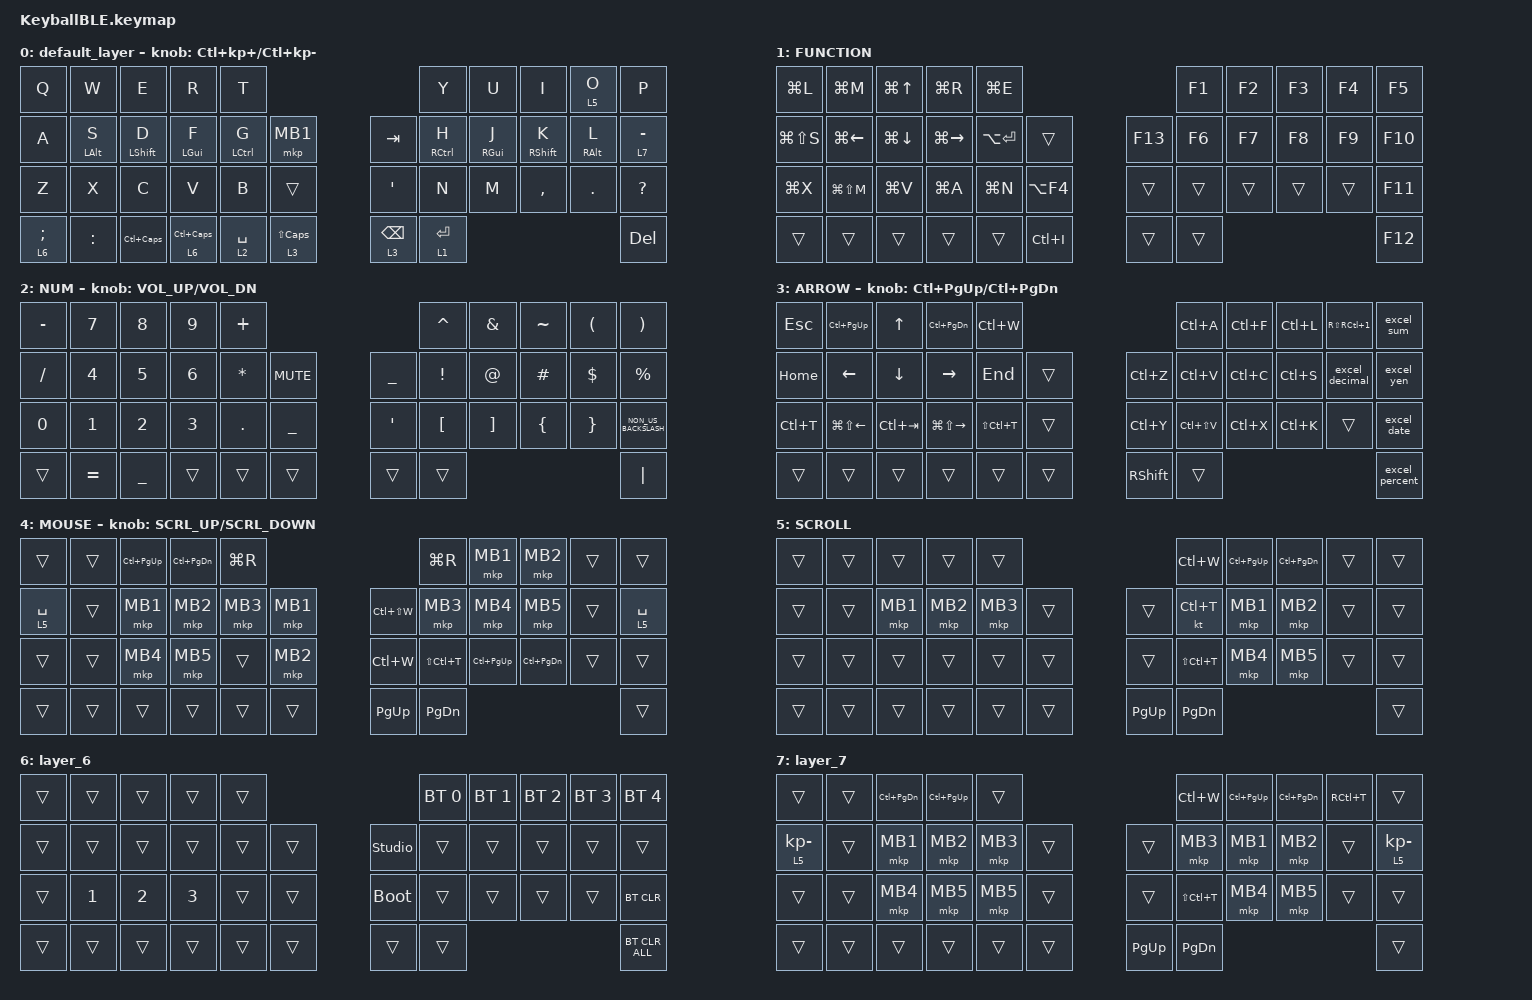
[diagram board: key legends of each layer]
#define ZMK_POINTING_DEFAULT_SCRL_VAL 120    // default: 10

#include <behaviors.dtsi>
#include <dt-bindings/zmk/bt.h>
#include <dt-bindings/zmk/keys.h>
#include <dt-bindings/zmk/pointing.h>

&mt {
    flavor = "balanced";
    quick-tap-ms = <0>;
};

/ {
    /*
combos {
    compatible = "zmk,combos";

    double_quotation {
        bindings = <&kp JP_DQUOTE>;
        key-positions = <20 21>;
    };
};
*/

    macros {
        to_layer_0: to_layer_0 {
            compatible = "zmk,behavior-macro-one-param";
            #binding-cells = <1>;
            bindings = <&to 0 &macro_param_1to1 &kp MACRO_PLACEHOLDER>;
            label = "TO_LAYER_0";
        };

        excel_sum: excel_sum {
            compatible = "zmk,behavior-macro";
            #binding-cells = <0>;
            bindings =
                <&macro_press>,
                <&kp LALT &kp LSHIFT>,
                <&macro_tap>,
                <&kp MINUS>,
                <&macro_release>,
                <&kp LALT &kp LSHIFT>;

            label = "EXCEL_SUM";
        };

        excel_yen: excel_yen {
            compatible = "zmk,behavior-macro";
            #binding-cells = <0>;
            bindings =
                <&macro_press>,
                <&kp LCTRL &kp LSHIFT>,
                <&macro_tap>,
                <&kp NUMBER_4>,
                <&macro_release>,
                <&kp LCTRL &kp LSHIFT>;

            label = "EXCEL_YEN";
        };

        excel_percent: excel_percent {
            compatible = "zmk,behavior-macro";
            #binding-cells = <0>;
            bindings =
                <&macro_press>,
                <&kp LCTRL &kp LSHIFT>,
                <&macro_tap>,
                <&kp NUMBER_5>,
                <&macro_release>,
                <&kp LCTRL &kp LSHIFT>;

            label = "EXCEL_PERCENT";
        };

        excel_date: excel_date {
            compatible = "zmk,behavior-macro";
            #binding-cells = <0>;
            bindings =
                <&macro_press>,
                <&kp LCTRL &kp LSHIFT>,
                <&macro_tap>,
                <&kp NUMBER_3>,
                <&macro_release>,
                <&kp LCTRL &kp LSHIFT>;

            label = "EXCEL_DATE";
        };

        excel_decimal: excel_decimal {
            compatible = "zmk,behavior-macro";
            #binding-cells = <0>;
            bindings =
                <&macro_press>,
                <&kp LCTRL &kp LSHIFT>,
                <&macro_tap>,
                <&kp NUMBER_1>,
                <&macro_release>,
                <&kp LCTRL &kp LSHIFT>;

            label = "EXCEL_DECIMAL";
        };
    };

    behaviors {
        lt_to_layer_0: lt_to_layer_0 {
            compatible = "zmk,behavior-hold-tap";
            label = "LAYER_TAP_TO_0";
            bindings = <&mo>, <&to_layer_0>;

            #binding-cells = <2>;
            tapping-term-ms = <200>;
        };

        ROTATE: ROTATE {
            compatible = "zmk,behavior-sensor-rotate-var";
            label = "ROTATE";
            #sensor-binding-cells = <2>;
            bindings = <&msc>, <&msc>;

            tap-ms = <20>;
        };
    };

    keymap {
        compatible = "zmk,keymap";

        default_layer {
            bindings = <
&kp Q       &kp W           &kp E             &kp R                          &kp T                                                            &kp Y        &kp U            &kp I              &lt 5 O          &kp P
&kp A       &mt LEFT_ALT S  &mt LEFT_SHIFT D  &mt LEFT_GUI F                 &mt LCTRL G  &mkp MB1                           &kp TAB          &mt RCTRL H  &mt RIGHT_GUI J  &mt RIGHT_SHIFT K  &mt RIGHT_ALT L  &lt 7 MINUS
&kp Z       &kp X           &kp C             &kp V                          &kp B        &trans                             &kp APOSTROPHE   &kp N        &kp M            &kp COMMA          &kp PERIOD       &kp QUESTION
&lt 6 SEMI  &kp COLON       &kp LC(CAPS)      &lt_to_layer_0 6 LC(CAPSLOCK)  &lt 2 SPACE  &lt_to_layer_0 3 LS(CAPSLOCK)      &lt 3 BACKSPACE  &lt 1 ENTER                                                       &kp DEL
            >;

            sensor-bindings = <&inc_dec_kp LC(KP_PLUS) LC(KP_MINUS)>;
        };

        FUNCTION {
            bindings = <
&kp LG(L)      &kp LG(M)           &kp LG(UP_ARROW)  &kp LG(R)            &kp LG(E)                               &kp F1  &kp F2  &kp F3  &kp F4  &kp F5
&kp LG(LS(S))  &kp LG(LEFT_ARROW)  &kp LG(DOWN)      &kp LG(RIGHT_ARROW)  &kp LA(ENTER)  &trans          &kp F13  &kp F6  &kp F7  &kp F8  &kp F9  &kp F10
&kp LG(X)      &kp LG(LS(M))       &kp LG(V)         &kp LG(A)            &kp LG(N)      &kp LA(F4)      &trans   &trans  &trans  &trans  &trans  &kp F11
&trans         &trans              &trans            &trans               &trans         &kp LC(I)       &trans   &trans                          &kp F12
            >;
        };

        NUM {
            bindings = <
&kp MINUS     &kp N7        &kp N8          &kp N9        &kp PLUS                                      &kp CARET         &kp AMPERSAND      &kp TILDE       &kp LEFT_PARENTHESIS  &kp RIGHT_PARENTHESIS
&kp SLASH     &kp NUMBER_4  &kp N5          &kp NUMBER_6  &kp ASTERISK  &kp C_MUTE      &kp UNDERSCORE  &kp EXCLAMATION   &kp AT_SIGN        &kp HASH        &kp DOLLAR            &kp PERCENT
&kp NUMBER_0  &kp NUMBER_1  &kp NUMBER_2    &kp NUMBER_3  &kp PERIOD    &kp UNDER       &kp SQT         &kp LEFT_BRACKET  &kp RIGHT_BRACKET  &kp LEFT_BRACE  &kp RIGHT_BRACE       &kp NON_US_BACKSLASH
&trans        &kp EQUAL     &kp UNDERSCORE  &trans        &trans        &trans          &trans          &trans                                                                     &kp PIPE
            >;

            sensor-bindings = <&inc_dec_kp C_VOLUME_UP C_VOL_DN>;
        };

        ARROW {
            bindings = <
&kp ESCAPE  &kp LC(PAGE_UP)         &kp UP_ARROW    &kp LC(PAGE_DOWN)        &kp LC(W)                                   &kp LC(A)      &kp LC(F)  &kp LC(L)  &kp RS(RC(NUMBER_1))  &excel_sum
&kp HOME    &kp LEFT_ARROW          &kp DOWN_ARROW  &kp RIGHT_ARROW          &kp END        &trans      &kp LC(Z)        &kp LC(V)      &kp LC(C)  &kp LC(S)  &excel_decimal        &excel_yen
&kp LC(T)   &kp LG(LS(LEFT_ARROW))  &kp LC(TAB)     &kp LG(LS(RIGHT_ARROW))  &kp LS(LC(T))  &trans      &kp LC(Y)        &kp LC(LS(V))  &kp LC(X)  &kp LC(K)  &trans                &excel_date
&trans      &trans                  &trans          &trans                   &trans         &trans      &kp RIGHT_SHIFT  &trans                                                     &excel_percent
            >;

            sensor-bindings = <&inc_dec_kp LC(PAGE_UP) LC(PAGE_DOWN)>;
        };

        MOUSE {
            bindings = <
&trans       &trans  &kp LC(PAGE_UP)  &kp LC(PAGE_DOWN)  &kp LG(R)                               &kp LG(R)      &mkp MB1         &mkp MB2           &trans  &trans
&lt 5 SPACE  &trans  &mkp MB1         &mkp MB2           &mkp MB3   &mkp MB1      &kp LC(LS(W))  &mkp MB3       &mkp MB4         &mkp MB5           &trans  &lt 5 SPACE
&trans       &trans  &mkp MB4         &mkp MB5           &trans     &mkp MB2      &kp LC(W)      &kp LS(LC(T))  &kp LC(PAGE_UP)  &kp LC(PAGE_DOWN)  &trans  &trans
&trans       &trans  &trans           &trans             &trans     &trans        &kp PAGE_UP    &kp PAGE_DOWN                                              &trans
            >;

            sensor-bindings = <&ROTATE SCRL_UP SCRL_DOWN>;
        };

        SCROLL {
            bindings = <
&trans  &trans  &trans    &trans    &trans                             &kp LC(W)      &kp LC(PAGE_UP)  &kp LC(PAGE_DOWN)  &trans  &trans
&trans  &trans  &mkp MB1  &mkp MB2  &mkp MB3  &trans      &trans       &kt LC(T)      &mkp MB1         &mkp MB2           &trans  &trans
&trans  &trans  &trans    &trans    &trans    &trans      &trans       &kp LS(LC(T))  &mkp MB4         &mkp MB5           &trans  &trans
&trans  &trans  &trans    &trans    &trans    &trans      &kp PAGE_UP  &kp PAGE_DOWN                                              &trans
            >;
        };

        layer_6 {
            bindings = <
&trans  &trans        &trans        &trans        &trans                              &bt BT_SEL 0  &bt BT_SEL 1  &bt BT_SEL 2  &bt BT_SEL 3  &bt BT_SEL 4
&trans  &trans        &trans        &trans        &trans  &trans      &studio_unlock  &trans        &trans        &trans        &trans        &trans
&trans  &kp NUMBER_1  &kp NUMBER_2  &kp NUMBER_3  &trans  &trans      &bootloader     &trans        &trans        &trans        &trans        &bt BT_CLR
&trans  &trans        &trans        &trans        &trans  &trans      &trans          &trans                                                  &bt BT_CLR_ALL
            >;
        };

        layer_7 {
            bindings = <
&trans                     &trans  &kp LC(PAGE_DOWN)  &kp LC(PAGE_UP)  &trans                             &kp LC(W)      &kp LC(PAGE_UP)  &kp LC(PAGE_DOWN)  &kp RC(T)  &trans
&lt_to_layer_0 5 KP_MINUS  &trans  &mkp MB1           &mkp MB2         &mkp MB3  &trans      &trans       &mkp MB3       &mkp MB1         &mkp MB2           &trans     &lt_to_layer_0 5 KP_MINUS
&trans                     &trans  &mkp MB4           &mkp MB5         &mkp MB5  &trans      &trans       &kp LS(LC(T))  &mkp MB4         &mkp MB5           &trans     &trans
&trans                     &trans  &trans             &trans           &trans    &trans      &kp PAGE_UP  &kp PAGE_DOWN                                                 &trans
            >;
        };
    };
};
